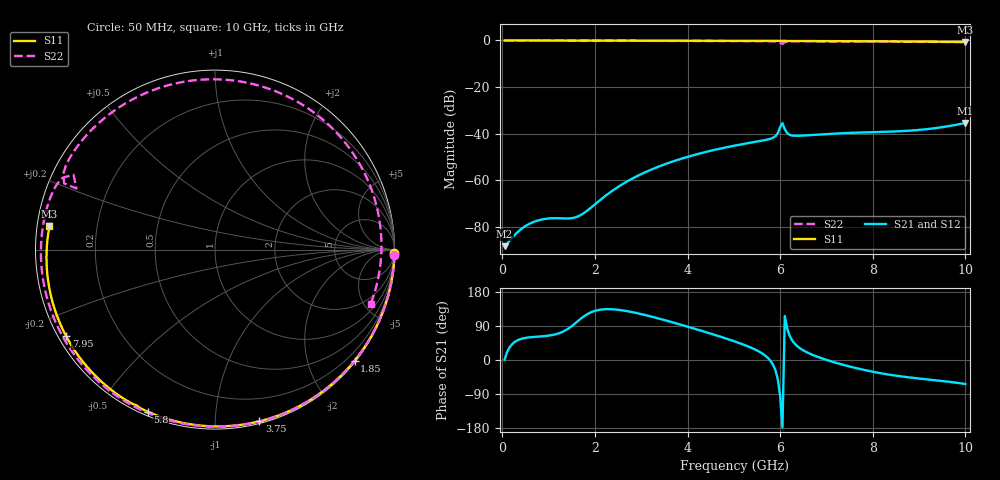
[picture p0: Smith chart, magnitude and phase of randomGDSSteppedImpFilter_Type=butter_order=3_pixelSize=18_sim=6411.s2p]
! freq	dB(S11)	phase(S11)	dB(S12)	phase(S12)
!  dB(S21)	phase(S21)	dB(S22)	phase(S22)
!S-par simulation data
#  GHz  S  DB  R 50
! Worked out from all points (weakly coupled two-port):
!   200 points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, 50 MHz to 10 GHz, reference 50 ohm
!   highest |S21| = -35.44 dB at 10 GHz (marker M1); lowest = -88.3 dB at 50 MHz (marker M2)
!   lowest |S11| = -0.6 dB at 10 GHz (marker M3), VSWR 28.15, Z = 1.79 + j3.54 ohm
!   |S11| at or under -10 dB: nowhere
!   |S22| runs from -1.5 to 0.0 dB; largest |S21 - S12| = 0
!   S11 on the Smith chart (normalised r, x): 50 MHz: open; 1.85 GHz: 0.03, -2.87; 3.75 GHz: 0.02, -1.29; 5.8 GHz: 0.02, -0.67; 7.95 GHz: 0.02, -0.27; 10 GHz: 0.04, +0.07
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0.05  -0.00 -1.1  -88.26 0.7  -88.26 0.7  -0.00 -1.8
0.45  -0.01 -9.5  -80.31 57.1  -80.31 57.1  -0.01 -16.5
0.85  -0.02 -17.9  -76.82 62.4  -76.82 62.4  -0.03 -31.0
1.5  -0.04 -31.3  -76.24 89.4  -76.24 89.4  -0.07 -54.1
1.75  -0.05 -36.4  -74.22 114.1  -74.22 114.1  -0.08 -62.8
1.85  -0.05 -38.5  -72.76 121.9  -72.76 121.9  -0.08 -66.2
2.6  -0.07 -53.4  -61.60 130.8  -61.60 130.8  -0.11 -91.5
3.4  -0.09 -68.9  -53.93 108.8  -53.93 108.8  -0.15 -117.6
3.75  -0.10 -75.5  -51.47 96.9  -51.47 96.9  -0.17 -128.9
4.45  -0.13 -88.5  -47.57 71.5  -47.57 71.5  -0.21 -151.5
5.05  -0.15 -99.3  -45.00 47.7  -45.00 47.7  -0.25 -171.3
5.8  -0.19 -112.5  -42.11 -3.6  -42.11 -3.6  -0.34 161.9
5.9  -0.20 -114.3  -41.04 -27.7  -41.04 -27.7  -0.42 157.4
6  -0.23 -116.1  -37.16 -95.9  -37.16 -95.9  -0.99 152.1
6.05  -0.25 -116.8  -35.44 -178.1  -35.44 -178.1  -1.48 156.2
6.2  -0.22 -119.3  -40.45 65.1  -40.45 65.1  -0.42 150.8
6.7  -0.25 -128.0  -40.55 13.5  -40.55 13.5  -0.38 130.2
7.35  -0.30 -139.3  -39.79 -12.4  -39.79 -12.4  -0.43 103.2
7.95  -0.36 -149.8  -39.38 -29.7  -39.38 -29.7  -0.48 76.6
8.35  -0.40 -156.9  -39.14 -38.6  -39.14 -38.6  -0.51 58.2
9.2  -0.50 -172.5  -37.98 -51.4  -37.98 -51.4  -0.60 18.0
10  -0.62 171.9  -35.44 -63.4  -35.44 -63.4  -0.74 -19.2
